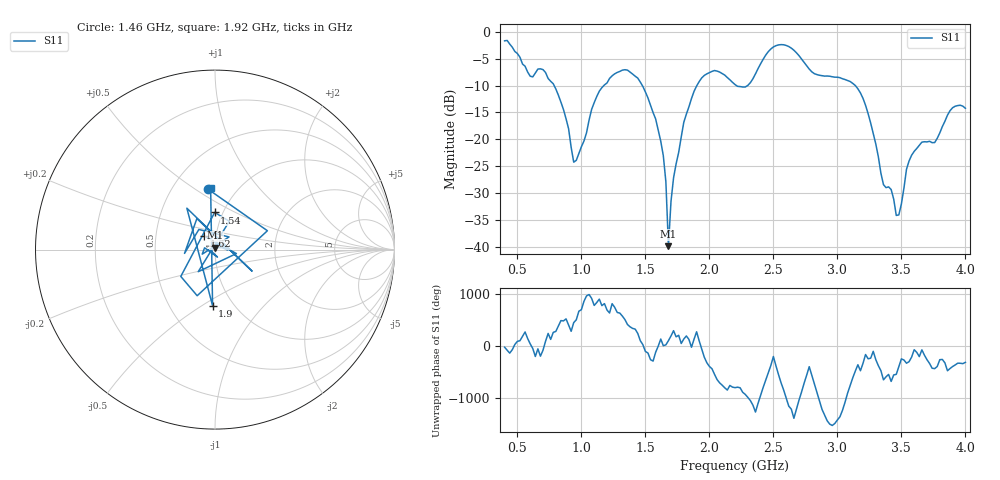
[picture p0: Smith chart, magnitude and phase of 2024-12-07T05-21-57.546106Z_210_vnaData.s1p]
!Created with skrf (http://scikit-rf.org).
# Hz S RI R 50.0
!freq ReS11 ImS11
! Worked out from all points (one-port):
!   181 points, 400 MHz to 4 GHz, reference 50 ohm
!   lowest |S11| = -39.9 dB at 1.68 GHz (marker M1), VSWR 1.02, Z = 49.9 + j0.999 ohm
!   |S11| at or under -10 dB: 786.8 MHz to 1.176 GHz (388.8 MHz wide, 39.6 % of centre); 1.476 GHz to 1.902 GHz (426.4 MHz wide, 25.2 % of centre); 3.14 GHz to end of sweep (the widest 3 of 4)
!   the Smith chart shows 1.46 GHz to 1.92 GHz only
!   S11 on the Smith chart (normalised r, x): 1.46 GHz: 0.74, +0.56; 1.54 GHz: 0.91, +0.40; 1.62 GHz: 0.88, +0.13; 1.9 GHz: 0.80, -0.56; 1.92 GHz: 0.76, +0.59
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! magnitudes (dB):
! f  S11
! 400 MHz  -1.7
! 600 MHz  -8.3
! 720 MHz  -7.6
! 860 MHz  -14.5
! 940 MHz  -24.3
! 1.14 GHz  -11.0
! 1.3 GHz  -7.4
! 1.46 GHz  -9.4
! 1.54 GHz  -13.7
! 1.62 GHz  -20.4
! 1.66 GHz  -28.0
! 1.68 GHz  -39.9
! 1.72 GHz  -27.2
! 1.76 GHz  -22.4
! 1.9 GHz  -10.1
! 1.92 GHz  -9.3
! 2.2 GHz  -9.8
! 2.3 GHz  -10.0
! 2.5 GHz  -2.8
! 2.66 GHz  -3.4
! 3.1 GHz  -9.3
! 3.22 GHz  -13.7
! 3.36 GHz  -28.5
! 3.42 GHz  -29.4
! 3.46 GHz  -34.2
! 3.56 GHz  -24.0
! 3.9 GHz  -14.1
! 4 GHz  -14.2
